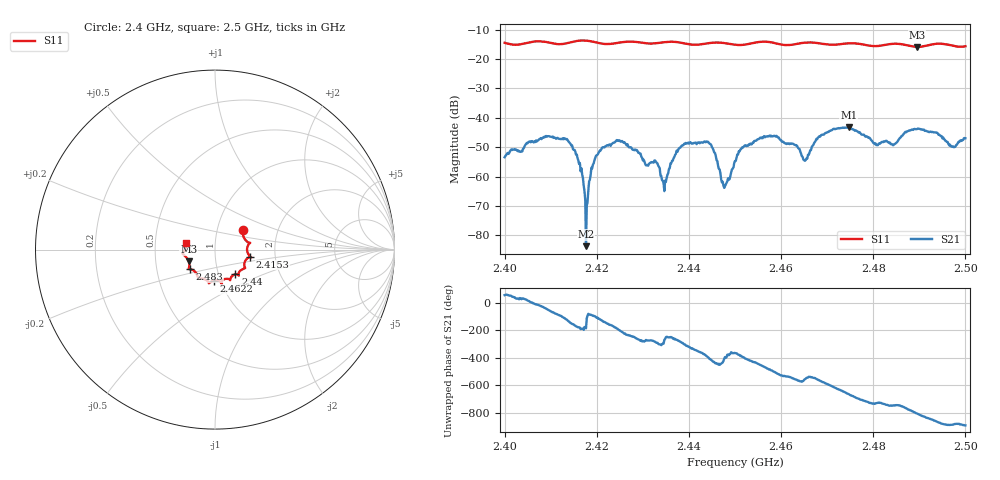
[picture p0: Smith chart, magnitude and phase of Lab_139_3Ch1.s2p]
# Hz S RI R 50
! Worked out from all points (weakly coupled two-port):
!   601 points, 2.4 GHz to 2.5 GHz, reference 50 ohm
!   highest |S21| = -43.32 dB at 2.4747 GHz (marker M1); lowest = -83.7 dB at 2.4177 GHz (marker M2)
!   lowest |S11| = -15.9 dB at 2.4895 GHz (marker M3), VSWR 1.38, Z = 37 - j4.98 ohm
!   |S11| at or under -10 dB: start of sweep to end of sweep
!   S12 and S22 are empty: the file has one direction only
!   S11 on the Smith chart (normalised r, x): 2.4 GHz: 1.33, +0.29; 2.4153 GHz: 1.48, -0.12; 2.44 GHz: 1.20, -0.34; 2.4622 GHz: 0.93, -0.33; 2.483 GHz: 0.74, -0.17; 2.5 GHz: 0.72, +0.06
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2.4e9  0.1552 0.1065  0.00118 0.00177  0 0  0 0
2.409333e9  0.1894 0.0319  0.00318 -0.00364  0 0  0 0
2.415333e9  0.1962 -0.0386  -0.00259 -0.000684  0 0  0 0
2.416667e9  0.2018 -0.0426  -0.00137 0.000175  0 0  0 0
2.417667e9  0.2007 -0.0424  -6.51e-05 5.24e-06  0 0  0 0
2.419333e9  0.1908 -0.0429  -0.000112 -0.00168  0 0  0 0
2.421667e9  0.1699 -0.0603  -0.00233 -0.00207  0 0  0 0
2.433333e9  0.1312 -0.1336  0.000705 0.00137  0 0  0 0
2.434667e9  0.1305 -0.1421  -1.36e-05 0.000565  0 0  0 0
2.44e9  0.114 -0.1369  0.00278 0.00234  0 0  0 0
2.444667e9  0.0848 -0.1673  0.00235 -0.00267  0 0  0 0
2.447667e9  0.0821 -0.1672  0.000449 -0.000458  0 0  0 0
2.45e9  0.0646 -0.1626  0.00183 -0.000125  0 0  0 0
2.455833e9  0.038 -0.1928  -0.000539 -0.0046  0 0  0 0
2.462167e9  -0.00746 -0.1737  -0.00359 0.000112  0 0  0 0
2.465167e9  -0.0324 -0.1866  -0.00179 0.000469  0 0  0 0
2.466667e9  -0.0342 -0.1877  -0.00322 -9.51e-06  0 0  0 0
2.474667e9  -0.0909 -0.1607  0.0037 0.00574  0 0  0 0
2.483e9  -0.1376 -0.1095  0.00373 -0.00138  0 0  0 0
2.483333e9  -0.14 -0.1093  0.00349 -0.00159  0 0  0 0
2.4895e9  -0.1463 -0.0657  0.000752 -0.00635  0 0  0 0
2.5e9  -0.1598 0.0391  -0.00442 -0.000769  0 0  0 0
